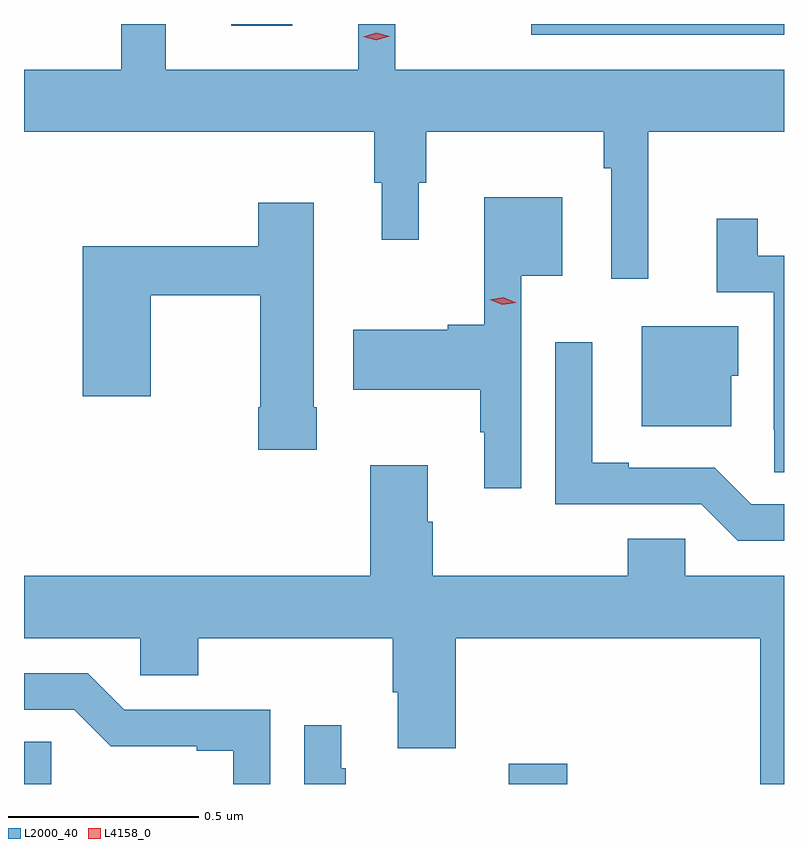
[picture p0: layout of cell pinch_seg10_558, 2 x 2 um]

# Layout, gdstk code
import gdstk
lib = gdstk.Library(unit=1e-6, precision=1e-09)
def R(c, l, rs):  # rectangles x0, y0, x1, y1
    for r in rs: c.add(gdstk.rectangle(r[:2], r[2:], *l))
def P(c, l, *ps):  # polygons
    for p in ps: c.add(gdstk.Polygon(p, *l))
L2000_40 = (2000, 40)
L4158_0 = (4158, 0)

pinch_seg10_558 = lib.new_cell('pinch_seg10_558')
R(pinch_seg10_558, L2000_40, [(143.421,1286.612,143.493,1286.723), (144.697,1286.612,144.851,1286.665), (144.756,1288.584,145.421,1288.612), (143.966,1288.608,144.127,1288.612)])
P(pinch_seg10_558, L2000_40, [(145.064,1288.328),(145.421,1288.328),(145.421,1288.492),(144.398,1288.492),(144.398,1288.612),(144.3,1288.612),(144.3,1288.492),(143.794,1288.492),(143.794,1288.612),(143.677,1288.612),(143.677,1288.492),(143.421,1288.492),(143.421,1288.328),(144.343,1288.328),(144.343,1288.194),(144.362,1288.194),(144.362,1288.044),(144.46,1288.044),(144.46,1288.194),(144.479,1288.194),(144.479,1288.328),(144.946,1288.328),(144.946,1288.232),(144.966,1288.232),(144.966,1287.942),(145.064,1287.942)],
  [(144.729,1287.95),(144.838,1287.95),(144.838,1288.156),(144.632,1288.156),(144.632,1287.821),(144.536,1287.821),(144.536,1287.808),(144.288,1287.808),(144.288,1287.65),(144.621,1287.65),(144.621,1287.538),(144.632,1287.538),(144.632,1287.39),(144.729,1287.39)],
  [(144.192,1287.604),(144.184,1287.604),(144.184,1288.141),(144.038,1288.141),(144.038,1288.027),(143.576,1288.027),(143.576,1287.633),(143.754,1287.633),(143.754,1287.898),(144.043,1287.898),(144.043,1287.604),(144.038,1287.604),(144.038,1287.492),(144.192,1287.492)],
  [(145.421,1288.002),(145.352,1288.002),(145.352,1288.099),(145.244,1288.099),(145.244,1287.906),(145.394,1287.906),(145.394,1287.544),(145.395,1287.544),(145.395,1287.433),(145.421,1287.433)],
  [(145.282,1287.687),(145.3,1287.687),(145.3,1287.817),(145.046,1287.817),(145.046,1287.554),(145.282,1287.554)],
  [(145.421,1287.348),(145.335,1287.348),(145.239,1287.444),(145.012,1287.444),(145.012,1287.457),(144.916,1287.457),(144.916,1287.775),(144.819,1287.775),(144.819,1287.348),(145.203,1287.348),(145.299,1287.252),(145.421,1287.252)],
  [(145.421,1287.16),(145.161,1287.16),(145.161,1287.258),(145.01,1287.258),(145.01,1287.16),(144.497,1287.16),(144.497,1287.302),(144.484,1287.302),(144.484,1287.451),(144.332,1287.451),(144.332,1287.16),(143.421,1287.16),(143.421,1286.996),(143.727,1286.996),(143.727,1286.898),(143.879,1286.898),(143.879,1286.996),(144.392,1286.996),(144.392,1286.854),(144.404,1286.854),(144.404,1286.706),(144.557,1286.706),(144.557,1286.996),(145.358,1286.996),(145.358,1286.612),(145.421,1286.612)],
  [(144.069,1286.808),(143.685,1286.808),(143.589,1286.904),(143.421,1286.904),(143.421,1286.808),(143.553,1286.808),(143.649,1286.712),(143.876,1286.712),(143.876,1286.7),(143.972,1286.7),(143.972,1286.612),(144.069,1286.612)],
  [(144.268,1286.654),(144.256,1286.654),(144.256,1286.767),(144.159,1286.767),(144.159,1286.612),(144.268,1286.612)])
P(pinch_seg10_558, L4158_0, [(144.68,1287.873),(144.647,1287.886),(144.646,1287.886),(144.647,1287.887),(144.682,1287.893),(144.716,1287.879),(144.716,1287.879),(144.716,1287.879)],
  [(144.348,1288.569),(144.314,1288.579),(144.313,1288.579),(144.314,1288.579),(144.348,1288.589),(144.383,1288.58),(144.384,1288.58),(144.383,1288.58)])

lib.write_gds('pinch_seg10_558.gds')
